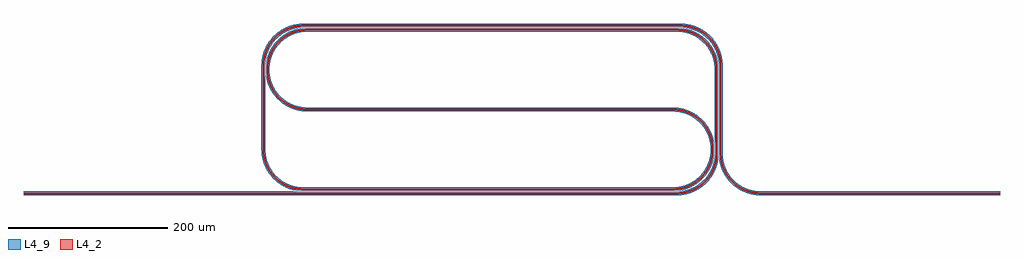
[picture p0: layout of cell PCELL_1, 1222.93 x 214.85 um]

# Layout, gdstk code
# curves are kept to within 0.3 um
import gdstk
lib = gdstk.Library(unit=1e-6, precision=5e-09)
def P(c, l, *ps):  # polygons
    for p in ps: c.add(gdstk.Polygon(p, *l))
L4_2 = (4, 2)
L4_9 = (4, 9)

pcell_1_trace1 = lib.new_cell('PCELL_1_trace1')
P(pcell_1_trace1, L4_2, [(0,-0.925),(821.445,-0.805),(826.675,-0.17),(830.97,0.77),(835.165,2.08),(839.23,3.745),(843.14,5.75),(847.58,8.595),(851.7,11.88),(854.86,14.935),(857.745,18.25),(860.815,22.535),(863.425,27.115),(865.225,31.125),(866.68,35.27),(867.94,40.39),(868.665,45.61),(868.855,50),(867.005,50),(866.74,44.925),(865.775,39.08),(864.39,34.19),(862.505,29.475),(858.32,22.12),(852.93,15.6),(849.835,12.71),(845.81,9.61),(841.485,6.945),(837.685,5.075),(829.675,2.35),(824.685,1.39),(820.47,0.99),(0,0.925)])
P(pcell_1_trace1, L4_9, [(0,-2.425),(820.645,-2.355),(830.475,-0.9),(839.86,2.38),(848.45,7.375),(855.945,13.9),(862.075,21.725),(866.62,30.565),(869.415,40.105),(870.355,50),(865.505,50),(864.49,40.215),(861.805,31.605),(857.085,22.975),(850.69,15.5),(843.59,9.935),(836.325,6.125),(828.515,3.62),(820.395,2.49),(0,2.425)])

pcell_1_trace2 = lib.new_cell('PCELL_1_trace2')
P(pcell_1_trace2, L4_2, [(868.855,50),(868.845,155.88),(868.37,162.01),(867.16,168.04),(864.895,174.69),(861.735,180.97),(857.745,186.75),(852.995,191.93),(847.58,196.405),(841.595,200.095),(835.165,202.92),(828.405,204.835),(823.195,205.655),(817.935,205.925),(351.45,205.8),(347.035,205.3),(342.68,204.415),(335.1,201.88),(328.015,198.19),(321.59,193.435),(318.37,190.375),(315.425,187.05),(310.9,180.465),(307.455,173.25),(306.05,169.04),(305.01,164.72),(304.2,158.555),(304.105,153.245),(304.56,147.99),(305.77,141.96),(307.385,136.94),(309.505,132.115),(312.115,127.535),(315.74,122.565),(319.935,118.07),(323.94,114.645),(329.03,111.195),(333.7,108.745),(338.595,106.79),(343.67,105.35),(348.86,104.445),(355,104.075),(355,105.925),(349.925,106.19),(344.905,106.975),(339.995,108.275),(335.245,110.075),(327.825,114.135),(324.4,116.63),(321.21,119.41),(317.71,123.095),(315.1,126.43),(310.785,133.71),(307.785,141.62),(306.805,145.74),(306.19,149.925),(305.93,154.155),(306.11,159.28),(306.67,163.525),(307.595,167.705),(309.185,172.59),(310.89,176.515),(312.935,180.275),(315.3,183.845),(320.91,190.305),(324.785,193.675),(328.27,196.16),(331.96,198.33),(336.615,200.505),(344.795,203.005),(349.87,203.805),(355.005,204.075),(817.925,204.075),(823.005,203.815),(827.19,203.195),(833.74,201.46),(840.735,198.455),(846.5,194.9),(851.72,190.59),(856.3,185.6),(860.145,180.025),(863.19,173.975),(865.37,167.565),(866.54,161.755),(867,155.85),(867.005,50)])
P(pcell_1_trace2, L4_9, [(870.355,50),(870.345,155.905),(869.855,162.215),(868.61,168.425),(866.275,175.27),(863.025,181.735),(858.92,187.69),(854.03,193.02),(848.45,197.625),(842.295,201.42),(835.67,204.335),(828.71,206.305),(817.94,207.425),(351.345,207.3),(342.315,205.87),(334.515,203.26),(327.22,199.46),(320.605,194.565),(314.84,188.7),(309.6,181.215),(306.055,173.79),(303.72,165.9),(302.575,155),(302.955,148.68),(303.89,143.335),(305.37,138.115),(307.765,132.255),(310.37,127.495),(314.01,122.315),(318.25,117.61),(322.315,114.015),(327.49,110.37),(332.255,107.765),(338.115,105.37),(343.335,103.89),(349.58,102.855),(355,102.575),(355,107.425),(346.02,108.28),(336.605,111.125),(327.975,115.845),(321.07,121.65),(315.845,127.975),(311.785,135.1),(309.01,142.82),(307.68,150.08),(307.605,159.145),(309.045,167.315),(311.88,175.105),(316.51,182.965),(321.95,189.225),(329.09,194.9),(336.41,198.795),(345.11,201.535),(355.01,202.575),(817.92,202.575),(827.715,201.56),(834.03,199.77),(840.04,197.125),(844.955,194.155),(850.09,190.06),(854.61,185.3),(858.43,179.965),(861.48,174.15),(863.7,167.975),(865.05,161.55),(865.5,155.82),(865.505,50)])

pcell_1_trace3 = lib.new_cell('PCELL_1_trace3')
P(pcell_1_trace3, L4_2, [(355,104.075),(812.925,104.075),(818.005,103.81),(822.19,103.195),(827.125,101.98),(831.905,100.26),(836.485,98.055),(840.81,95.39),(844.835,92.29),(848.52,88.79),(851.3,85.6),(854.255,81.47),(856.385,77.805),(858.51,73.19),(860.145,68.385),(861.125,64.265),(861.82,59.23),(862.005,55),(861.735,49.87),(861.105,45.635),(860.105,41.475),(857.04,33.485),(854.995,29.725),(852.63,26.155),(849.965,22.805),(847.02,19.7),(841.08,14.8),(837.465,12.5),(833.67,10.525),(829.715,8.885),(825.63,7.595),(821.45,6.67),(817.205,6.11),(350.005,5.925),(344.925,6.19),(340.74,6.805),(334.19,8.54),(327.195,11.545),(321.43,15.1),(316.21,19.41),(311.63,24.4),(307.785,29.975),(304.74,36.025),(302.56,42.435),(301.39,48.245),(300.93,54.155),(300.925,160),(299.075,160),(299.085,54.12),(299.69,47.12),(301.25,40.27),(303.745,33.7),(307.595,26.8),(311.88,21.23),(317.565,15.74),(324.03,11.195),(330.31,8.035),(336.96,5.77),(344.735,4.35),(349.995,4.075),(812.935,4.075),(817.37,4.27),(821.775,4.85),(826.11,5.81),(830.345,7.145),(834.45,8.845),(838.395,10.9),(842.14,13.285),(845.665,15.99),(848.94,18.99),(851.94,22.265),(854.645,25.79),(857.03,29.535),(859.085,33.48),(860.785,37.585),(862.12,41.82),(863.575,49.675),(863.855,55),(863.665,59.39),(862.94,64.61),(861.68,69.73),(859.895,74.69),(857.605,79.44),(855.335,83.2),(852.19,87.435),(849.25,90.7),(845.365,94.26),(841.13,97.405),(837.37,99.675),(832.62,101.965),(827.66,103.75),(822.54,105.01),(818.195,105.655),(812.935,105.925),(355,105.925)])
P(pcell_1_trace3, L4_9, [(355,102.575),(817.85,102.32),(826.69,100.54),(835.765,96.74),(843.23,91.68),(850.125,84.665),(855.055,77.11),(858.7,67.975),(860.33,59.1),(860.245,50.025),(858.66,41.885),(855.69,34.145),(851.42,27.035),(845.98,20.775),(840.22,16.03),(833.035,11.88),(825.245,9.045),(817.075,7.605),(350.01,7.425),(341.02,8.28),(334.675,9.96),(328.62,12.5),(322.975,15.845),(317.84,19.94),(313.32,24.7),(309.5,30.035),(306.45,35.85),(304.23,42.025),(302.88,48.45),(302.43,54.18),(302.425,160),(297.575,160),(297.585,54.095),(298.205,46.89),(299.815,39.835),(302.38,33.07),(306.345,25.97),(310.76,20.235),(316.61,14.585),(322.49,10.37),(329.73,6.655),(336.575,4.32),(344.58,2.855),(817.5,2.775),(825.615,4.13),(834.255,7.105),(842.245,11.54),(849.35,17.29),(855.345,24.185),(860.05,32.02),(863.325,40.55),(865.07,49.52),(865.16,59.52),(863.37,69.295),(859.765,78.56),(853.92,87.685),(846.32,95.42),(838.09,100.995),(828.095,105.185),(818.35,107.145),(355,107.425)])

pcell_1_trace4 = lib.new_cell('PCELL_1_trace4')
P(pcell_1_trace4, L4_2, [(300.925,160),(301.19,165.075),(301.805,169.265),(302.785,173.385),(304.42,178.195),(306.545,182.805),(308.675,186.47),(313.835,193.175),(317.455,196.735),(320.745,199.405),(324.25,201.78),(328.705,204.215),(333.39,206.18),(337.435,207.44),(345.77,208.895),(822.925,209.075),(828.005,208.815),(832.19,208.195),(838.74,206.46),(845.735,203.455),(851.5,199.9),(856.72,195.59),(861.3,190.6),(865.145,185.025),(868.19,178.975),(870.37,172.565),(871.54,166.755),(872,160.85),(872.005,50),(873.855,50),(873.845,160.88),(873.37,167.01),(872.16,173.04),(869.895,179.69),(866.735,185.97),(862.745,191.75),(857.995,196.93),(852.58,201.405),(846.595,205.095),(840.165,207.92),(832.54,210.01),(828.195,210.655),(822.935,210.925),(349.995,210.925),(344.735,210.655),(340.39,210.01),(335.27,208.75),(331.125,207.3),(326.335,205.095),(322.535,202.885),(318.25,199.815),(314.935,196.93),(311.305,193.11),(308.09,188.93),(305.325,184.44),(303.035,179.69),(301.25,174.73),(299.69,167.88),(299.085,160.88),(299.075,160)])
P(pcell_1_trace4, L4_9, [(302.425,160),(303.13,168.17),(305.515,176.87),(309.5,184.965),(314.94,192.16),(321.64,198.2),(329.36,202.865),(337.025,205.775),(345.9,207.4),(822.92,207.575),(831.91,206.72),(838.255,205.04),(844.31,202.5),(849.955,199.155),(855.09,195.06),(859.61,190.3),(863.43,184.965),(866.48,179.15),(868.7,172.975),(870.05,166.55),(870.5,160.82),(870.505,50),(875.355,50),(875.345,160.905),(874.855,167.215),(873.61,173.425),(871.275,180.27),(868.025,186.735),(863.92,192.69),(859.03,198.02),(853.45,202.625),(846.49,206.835),(839.815,209.63),(832.825,211.485),(822.94,212.425),(344.58,212.145),(334.835,210.185),(324.84,205.995),(316.61,200.42),(309.01,192.69),(305.37,187.51),(302.38,181.93),(300.085,176.03),(298.515,169.895),(297.575,160)])

pcell_1_trace5 = lib.new_cell('PCELL_1_trace5')
P(pcell_1_trace5, L4_2, [(872.005,50),(872.195,45.61),(872.76,41.255),(873.7,36.96),(875.315,31.94),(877.05,27.905),(879.125,24.03),(881.525,20.35),(884.81,16.23),(887.865,13.07),(891.18,10.185),(894.73,7.595),(898.49,5.325),(902.43,3.385),(906.525,1.79),(911.6,0.35),(915.92,-0.44),(922.925,-0.925),(1222.93,-0.925),(1222.93,0.925),(922.935,0.925),(916.175,1.39),(911.185,2.35),(907.12,3.54),(899.375,6.945),(892.33,11.63),(886.195,17.455),(881.605,23.535),(878.005,30.245),(876.205,34.995),(874.905,39.905),(874.12,44.925),(873.855,50)])
P(pcell_1_trace5, L4_9, [(870.505,50),(871.445,40.105),(873.91,31.41),(877.835,23.265),(883.095,15.92),(890.245,9.01),(897.77,4.005),(906.045,0.37),(914.82,-1.795),(922.92,-2.425),(1222.93,-2.425),(1222.93,2.425),(922.94,2.425),(915.57,3),(907.605,4.96),(900.82,7.875),(893.915,12.3),(888.43,17.24),(882.865,24.34),(878.745,32.365),(876.21,41.02),(875.355,50)])

pcell_1 = lib.new_cell('PCELL_1')
pcell_1.add(gdstk.Reference(pcell_1_trace1, (0,0)))
pcell_1.add(gdstk.Reference(pcell_1_trace2, (0,0)))
pcell_1.add(gdstk.Reference(pcell_1_trace3, (0,0)))
pcell_1.add(gdstk.Reference(pcell_1_trace4, (0,0)))
pcell_1.add(gdstk.Reference(pcell_1_trace5, (0,0)))

lib.write_gds('PCELL_1.gds')
